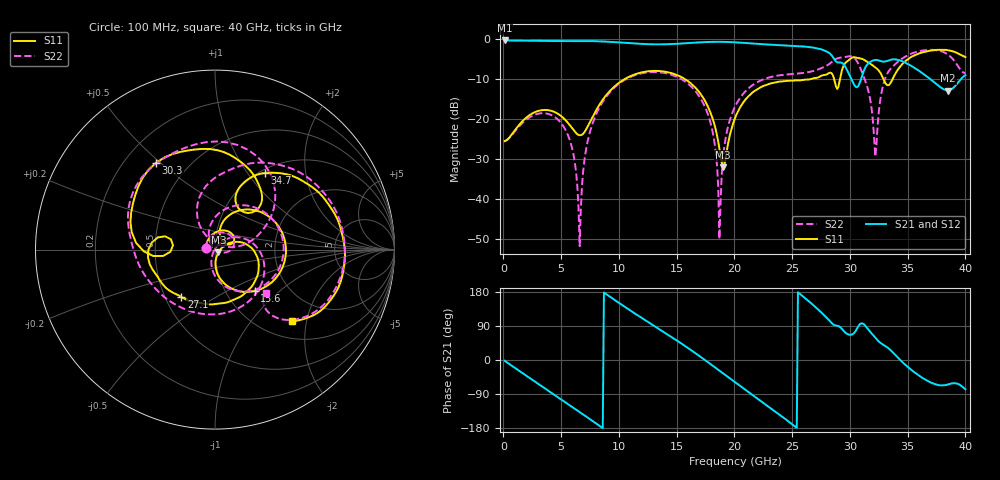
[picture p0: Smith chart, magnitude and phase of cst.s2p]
! BV_ts_refinout2: ThunderScope 50 Ω REFINOUT2, through via F.Cu → B.Cu (thick core)
! stackup: Thunderscope_Rev5.3 from the board file and its kisi.json
! ports: 1 in, 2 out
! CST Studio Suite 2025.5 Release from 2025-05-30, time domain (FIT, hexahedral, PBA), 519870 mesh cells, 220 s
! mesh: {'lpw': 20, 'lpb': 20, 'minstep': 0.0, 'ratio': 20}; ports: port 1 (face); port 2 (face)
! interpolated from CST's 1001 samples to the case grid
# Hz S RI R 50
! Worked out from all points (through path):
!   400 points, 100 MHz to 40 GHz, reference 50 ohm
!   highest |S21| = -0.47 dB at 100 MHz (marker M1); lowest = -13.0 dB at 38.5 GHz (marker M2)
!   group delay of S21, straight-line fit = 57.9 ps
!   lowest |S11| = -32.1 dB at 19 GHz (marker M3), VSWR 1.05, Z = 51.9 - j1.65 ohm
!   |S11| at or under -10 dB: start of sweep to 10.56 GHz; 15.65 GHz to 26.71 GHz (11.06 GHz wide, 52.2 % of centre); 32.89 GHz to 33.71 GHz (825.2 MHz wide, 2.48 % of centre)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
!   |S22| runs from -51.8 to -2.8 dB; largest |S21 - S12| = 0.0041
!   S11 on the Smith chart (normalised r, x): 100 MHz: 0.90, +0.01; 15.6 GHz: 1.36, -0.70; 27.1 GHz: 0.60, -0.36; 30.3 GHz: 0.33, +0.48; 34.7 GHz: 1.05, +1.21; 40 GHz: 1.36, -1.65
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1e8  -0.0522 0.00701  0.947 -0.0349  0.947 -0.0348  -0.0521 0.00687
5.1e9  0.0983 0.037  -0.2542 -0.8972  -0.2543 -0.8971  0.0842 -0.00568
6.2e9  0.0609 0.0314  -0.5851 -0.7282  -0.585 -0.7282  0.0246 -0.0117
6.6e9  0.0461 0.0419  -0.6857 -0.6346  -0.6857 -0.6346  0.00179 0.00186
6.8e9  0.0397 0.0494  -0.7306 -0.582  -0.7306 -0.582  -0.00848 0.0118
8.7e9  0.0575 0.1717  -0.9189 0.0316  -0.9189 0.0317  -0.00631 0.1714
1.34e10  0.392 -0.0442  0.1003 0.8418  0.1003 0.8417  0.379 -0.0374
1.56e10  0.221 -0.2308  0.6721 0.554  0.6719 0.554  0.1916 -0.2311
1.8e10  0.00655 -0.1116  0.8886 -0.1953  0.8887 -0.1952  -0.0202 -0.0786
1.85e10  0.0036 -0.0612  0.8351 -0.3664  0.835 -0.3663  -0.0122 -0.0221
1.87e10  0.00814 -0.0419  0.8032 -0.4315  0.8034 -0.4313  -0.00289 -0.0013
1.9e10  0.0192 -0.0159  0.7453 -0.523  0.7453 -0.5233  0.0172 0.0261
2.01e10  0.0979 0.0418  0.4486 -0.7775  0.4484 -0.7773  0.1295 0.0684
2.4e10  0.1948 -0.2168  -0.6898 -0.4564  -0.6894 -0.4568  0.144 -0.3187
2.67e10  -0.1219 -0.2913  -0.6613 0.4074  -0.6593 0.4066  -0.3005 -0.2486
2.71e10  -0.1878 -0.2632  -0.5586 0.5113  -0.5611 0.5123  -0.3597 -0.185
3.03e10  -0.3293 0.4833  0.0978 0.26  0.0956 0.262  0.1833 0.5562
3.22e10  0.2434 0.3624  0.2805 0.4637  0.2802 0.4635  0.0192 0.0279
3.34e10  0.1307 0.2309  0.4668 0.2632  0.4684 0.263  -0.000944 0.3994
3.47e10  0.2773 0.4268  0.5009 -0.0884  0.5003 -0.0873  0.3393 0.4762
3.85e10  0.6772 -0.2309  0.0967 -0.2027  0.0979 -0.2025  0.5079 -0.3726
4e10  0.4318 -0.3979  0.0769 -0.3418  0.0762 -0.3419  0.2842 -0.2406
